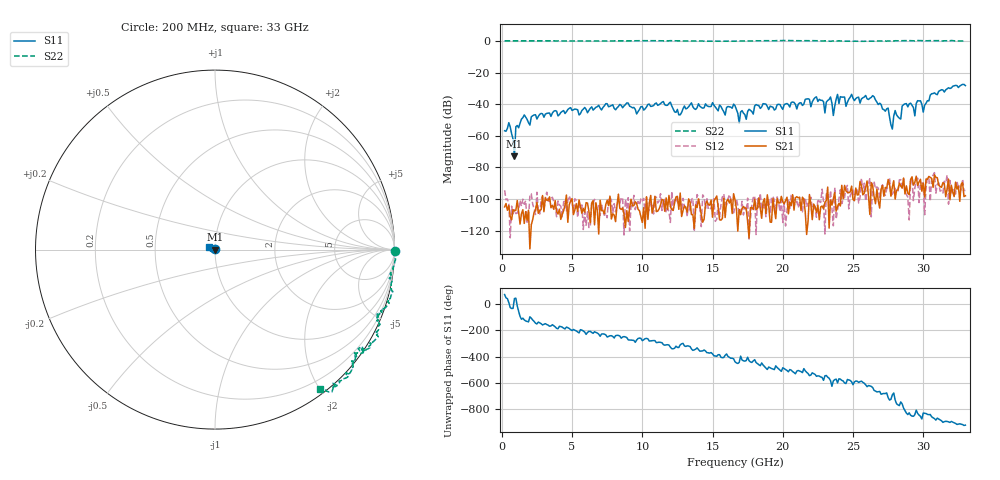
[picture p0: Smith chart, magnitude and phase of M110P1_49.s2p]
# GHZ S RI R 50
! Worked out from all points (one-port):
!   329 points, 200 MHz to 33 GHz, reference 50 ohm
!   lowest |S11| = -73.1 dB at 900 MHz (marker M1), VSWR 1.00, Z = 50 + j0.0155 ohm
!   |S11| at or under -10 dB: start of sweep to end of sweep
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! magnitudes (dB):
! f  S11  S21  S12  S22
! 200 MHz  -56.8  -104.9  -94.4  0.0
! 500 MHz  -51.7  -104.0  -103.0  0.0
! 900 MHz  -73.1  -107.4  -106.7  0.0
! 1 GHz  -54.2  -107.0  -109.2  0.0
! 1.6 GHz  -46.8  -115.3  -103.2  0.0
! 5.7 GHz  -44.0  -108.9  -103.7  -0.1
! 11.2 GHz  -40.3  -106.2  -101.0  0.1
! 16.6 GHz  -40.9  -100.4  -105.1  -0.2
! 16.9 GHz  -51.9  -106.6  -110.1  -0.1
! 18.1 GHz  -40.3  -106.7  -122.4  0.1
! 22.1 GHz  -38.5  -113.0  -105.7  0.1
! 23 GHz  -45.6  -102.1  -122.1  0.0
! 23.4 GHz  -35.5  -100.5  -94.7  -0.3
! 23.6 GHz  -47.1  -99.9  -116.9  -0.1
! 23.9 GHz  -33.8  -104.8  -107.0  -0.1
! 26.4 GHz  -34.6  -91.5  -89.3  -0.2
! 27.6 GHz  -48.1  -90.6  -86.5  0.0
! 27.8 GHz  -55.7  -92.3  -96.9  -0.1
! 28.6 GHz  -40.3  -86.7  -86.9  0.1
! 29.4 GHz  -47.4  -89.4  -93.0  0.0
! 29.6 GHz  -37.8  -91.4  -86.7  0.2
! 33 GHz  -28.2  -97.9  -94.5  -0.2
